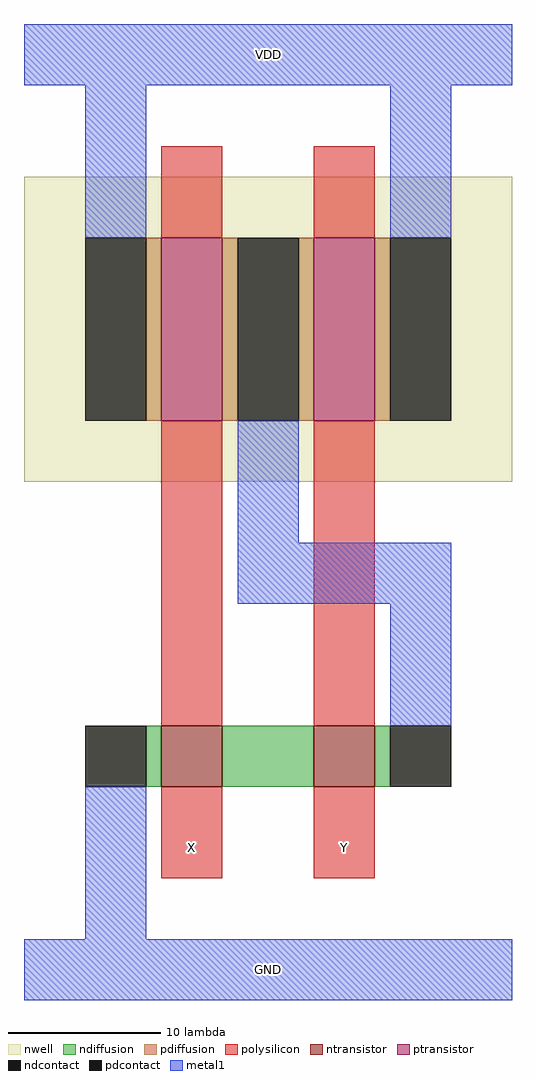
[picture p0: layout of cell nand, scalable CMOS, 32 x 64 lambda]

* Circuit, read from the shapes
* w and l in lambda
.subckt nand VDD GND X Y
M1 n1 X GND VSUBS nfet w=4 l=4
M2 n2 Y n1 VSUBS nfet w=4 l=4
M3 n2 X VDD n3 pfet w=12 l=4
M4 VDD Y n2 n3 pfet w=12 l=4
.ends

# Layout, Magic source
magic
tech scmos
<< nwell >>
rect 0 20 32 40
<< polysilicon >>
rect 9 36 13 42
rect 19 36 23 42
rect 9 4 13 24
rect 19 4 23 24
rect 9 -6 13 0
rect 19 -6 23 0
<< ndiffusion >>
rect 8 0 9 4
rect 13 0 19 4
rect 23 0 24 4
<< pdiffusion >>
rect 8 24 9 36
rect 13 24 14 36
rect 18 24 19 36
rect 23 24 24 36
<< metal1 >>
rect 0 46 32 50
rect 4 36 8 46
rect 24 36 28 46
rect 14 16 18 24
rect 14 12 28 16
rect 24 4 28 12
rect 4 -10 8 0
rect 0 -14 32 -10
<< ntransistor >>
rect 9 0 13 4
rect 19 0 23 4
<< ptransistor >>
rect 9 24 13 36
rect 19 24 23 36
<< ndcontact >>
rect 4 0 8 4
rect 24 0 28 4
<< pdcontact >>
rect 4 24 8 36
rect 14 24 18 36
rect 24 24 28 36
<< labels >>
flabel metal1 0 46 32 50 0 FreeMono 40 0 0 0 VDD
port 1 nsew
flabel metal1 0 -14 32 -10 0 FreeMono 40 0 0 0 GND
port 3 nsew
flabel polysilicon 9 -6 13 -2 0 FreeMono 40 0 0 0 X
port 5 nsew
flabel polysilicon 19 -6 23 -2 0 FreeMono 40 0 0 0 Y
port 7 nsew
<< end >>
